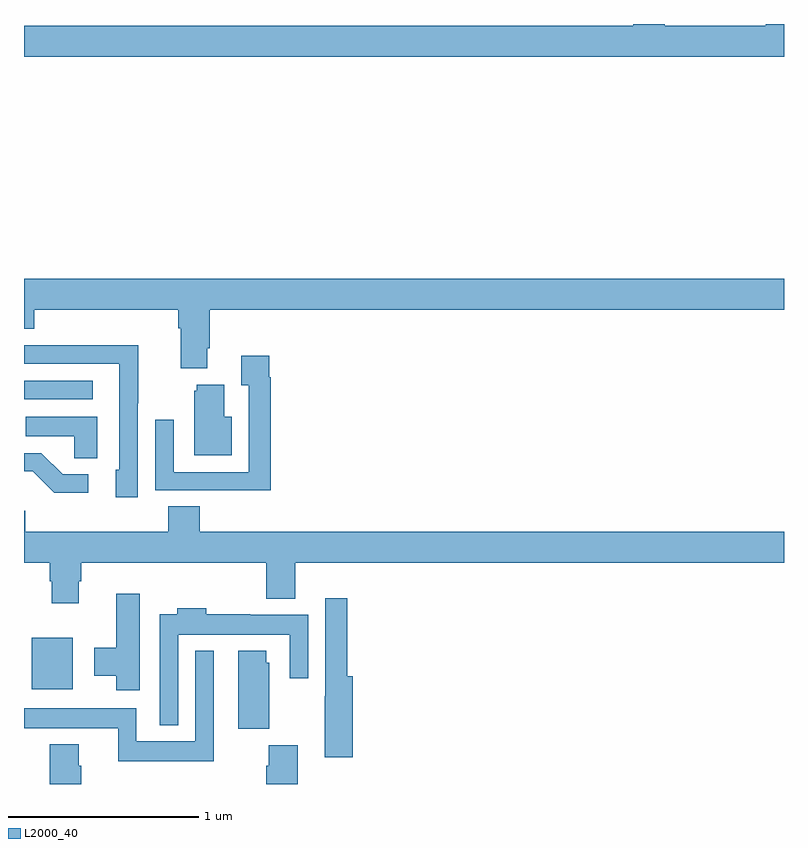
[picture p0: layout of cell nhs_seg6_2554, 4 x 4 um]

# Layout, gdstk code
import gdstk
lib = gdstk.Library(unit=1e-6, precision=1e-09)
def R(c, l, rs):  # rectangles x0, y0, x1, y1
    for r in rs: c.add(gdstk.rectangle(r[:2], r[2:], *l))
def P(c, l, *ps):  # polygons
    for p in ps: c.add(gdstk.Polygon(p, *l))
L2000_40 = (2000, 40)

nhs_seg6_2554 = lib.new_cell('nhs_seg6_2554')
R(nhs_seg6_2554, L2000_40, [(263.042,951.998,263.257,952.27), (263,953.526,263.362,953.622)])
P(nhs_seg6_2554, L2000_40, [(267,955.5),(266.903,955.5),(266.903,955.492),(266.372,955.492),(266.372,955.5),(266.207,955.5),(266.207,955.492),(263,955.492),(263,955.328),(267,955.328)],
  [(263,953.897),(263.054,953.897),(263.054,953.996),(263.813,953.996),(263.813,953.9),(263.825,953.9),(263.825,953.687),(263.965,953.687),(263.965,953.794),(263.978,953.794),(263.978,953.996),(267,953.996),(267,954.16),(263,954.16)],
  [(263.598,953.503),(263.601,953.503),(263.601,953.81),(263.137,953.81),(263.137,953.808),(263,953.808),(263,953.712),(263.502,953.712),(263.502,953.154),(263.483,953.154),(263.483,953.01),(263.598,953.01)],
  [(264.299,953.642),(264.292,953.642),(264.292,953.755),(264.143,953.755),(264.143,953.599),(264.183,953.599),(264.183,953.142),(263.787,953.142),(263.787,953.416),(263.691,953.416),(263.691,953.046),(264.007,953.046),(264.007,953.045),(264.299,953.045)],
  [(264.094,953.434),(264.055,953.434),(264.055,953.602),(263.909,953.602),(263.909,953.571),(263.897,953.571),(263.897,953.231),(264.094,953.231)],
  [(263.386,953.434),(263.008,953.434),(263.008,953.33),(263.265,953.33),(263.265,953.215),(263.386,953.215)],
  [(263.338,953.13),(263.203,953.13),(263.092,953.241),(263,953.241),(263,953.145),(263.046,953.145),(263.159,953.033),(263.338,953.033)],
  [(263.287,952.566),(263.3,952.566),(263.3,952.664),(264.275,952.664),(264.275,952.475),(264.427,952.475),(264.427,952.664),(267,952.664),(267,952.828),(263.924,952.828),(263.924,952.961),(263.759,952.961),(263.759,952.828),(263.006,952.828),(263.006,952.937),(263,952.937),(263,952.664),(263.135,952.664),(263.135,952.566),(263.147,952.566),(263.147,952.452),(263.287,952.452)],
  [(263.608,952.501),(263.486,952.501),(263.486,952.218),(263.369,952.218),(263.369,952.07),(263.486,952.07),(263.486,951.993),(263.608,951.993)],
  [(264.731,952.066),(264.701,952.066),(264.701,952.477),(264.585,952.477),(264.585,951.962),(264.584,951.962),(264.584,951.642),(264.731,951.642)],
  [(263.811,952.286),(264.399,952.286),(264.399,952.056),(264.495,952.056),(264.495,952.39),(264.191,952.39),(264.191,952.393),(263.96,952.393),(263.96,952.426),(263.807,952.426),(263.807,952.393),(263.715,952.393),(263.715,951.809),(263.811,951.809)],
  [(263.998,952.201),(263.901,952.201),(263.901,951.724),(263.592,951.724),(263.592,951.898),(263,951.898),(263,951.794),(263.495,951.794),(263.495,951.62),(263.998,951.62)],
  [(264.292,952.137),(264.274,952.137),(264.274,952.201),(264.128,952.201),(264.128,951.79),(264.292,951.79)],
  [(263.3,951.597),(263.287,951.597),(263.287,951.709),(263.135,951.709),(263.135,951.5),(263.3,951.5)],
  [(264.44,951.705),(264.287,951.705),(264.287,951.596),(264.275,951.596),(264.275,951.5),(264.44,951.5)])

lib.write_gds('nhs_seg6_2554.gds')
